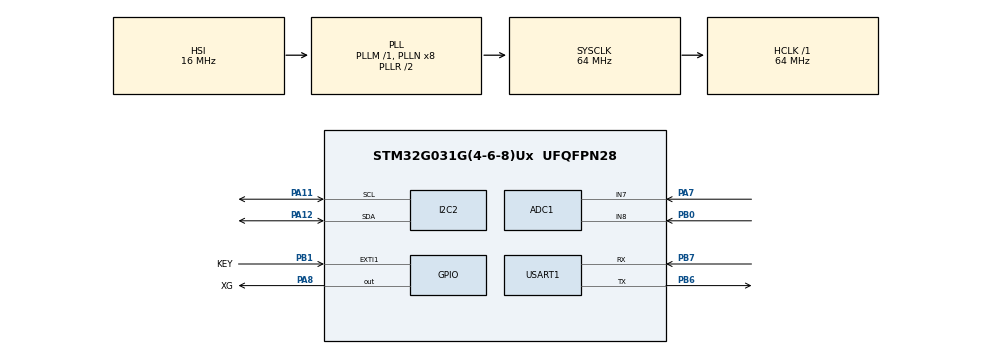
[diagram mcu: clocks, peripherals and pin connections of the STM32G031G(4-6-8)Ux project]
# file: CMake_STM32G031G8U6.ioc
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ADC1.Channel-1\#ChannelRegularConversion=ADC_CHANNEL_7
ADC1.Channel-6\#ChannelRegularConversion=ADC_CHANNEL_8
ADC1.Channel-7\#ChannelRegularConversion=ADC_CHANNEL_TEMPSENSOR
ADC1.ClockPrescaler=ADC_CLOCK_SYNC_PCLK_DIV4
ADC1.ContinuousConvMode=ENABLE
ADC1.DMAContinuousRequests=ENABLE
ADC1.NbrOfConversion=3
ADC1.NbrOfConversionFlag=1
ADC1.Rank-1\#ChannelRegularConversion=1
ADC1.Rank-6\#ChannelRegularConversion=2
ADC1.Rank-7\#ChannelRegularConversion=3
ADC1.SamplingTime-1\#ChannelRegularConversion=ADC_SAMPLINGTIME_COMMON_1
ADC1.SamplingTime-6\#ChannelRegularConversion=ADC_SAMPLINGTIME_COMMON_1
ADC1.SamplingTime-7\#ChannelRegularConversion=ADC_SAMPLINGTIME_COMMON_1
ADC1.SamplingTimeCommon1=ADC_SAMPLETIME_160CYCLES_5
ADC1.SamplingTimeCommon2=ADC_SAMPLETIME_160CYCLES_5
ADC1.SelectedChannel=ADC_CHANNEL_7|ADC_CHANNEL_TEMPSENSOR|ADC_CHANNEL_VREFINT|ADC_CHANNEL_8
ADC1.master=1
Dma.ADC1.1.Direction=DMA_PERIPH_TO_MEMORY
Dma.ADC1.1.EventEnable=DISABLE
Dma.ADC1.1.Instance=DMA1_Channel1
Dma.ADC1.1.MemDataAlignment=DMA_MDATAALIGN_WORD
Dma.ADC1.1.MemInc=DMA_MINC_ENABLE
Dma.ADC1.1.Mode=DMA_CIRCULAR
Dma.ADC1.1.PeriphDataAlignment=DMA_PDATAALIGN_WORD
Dma.ADC1.1.PeriphInc=DMA_PINC_DISABLE
Dma.ADC1.1.Polarity=HAL_DMAMUX_REQ_GEN_RISING
Dma.ADC1.1.Priority=DMA_PRIORITY_LOW
Dma.ADC1.1.RequestNumber=1
Dma.ADC1.1.SignalID=NONE
Dma.ADC1.1.SyncEnable=DISABLE
Dma.ADC1.1.SyncPolarity=HAL_DMAMUX_SYNC_NO_EVENT
Dma.ADC1.1.SyncRequestNumber=1
Dma.ADC1.1.SyncSignalID=NONE
Dma.Request0=USART1_TX
Dma.Request1=ADC1
Dma.USART1_TX.0.Direction=DMA_MEMORY_TO_PERIPH
Dma.USART1_TX.0.EventEnable=DISABLE
Dma.USART1_TX.0.Instance=DMA1_Channel3
Dma.USART1_TX.0.MemDataAlignment=DMA_MDATAALIGN_BYTE
Dma.USART1_TX.0.MemInc=DMA_MINC_ENABLE
Dma.USART1_TX.0.Mode=DMA_NORMAL
Dma.USART1_TX.0.PeriphDataAlignment=DMA_PDATAALIGN_BYTE
Dma.USART1_TX.0.PeriphInc=DMA_PINC_DISABLE
Dma.USART1_TX.0.Polarity=HAL_DMAMUX_REQ_GEN_RISING
Dma.USART1_TX.0.Priority=DMA_PRIORITY_MEDIUM
Dma.USART1_TX.0.RequestNumber=1
Dma.USART1_TX.0.SignalID=NONE
Dma.USART1_TX.0.SyncEnable=DISABLE
Dma.USART1_TX.0.SyncPolarity=HAL_DMAMUX_SYNC_NO_EVENT
Dma.USART1_TX.0.SyncRequestNumber=1
Dma.USART1_TX.0.SyncSignalID=NONE
I2C2.Timing=0x10B17DB5
IWDG.Prescaler=IWDG_PRESCALER_64
IWDG.Reload=4095
Mcu.Family=STM32G0
Mcu.Name=STM32G031G(4-6-8)Ux
Mcu.Package=UFQFPN28
NVIC.ADC1_IRQn=true\:0\:0\:false\:false\:true\:true\:true\:true
NVIC.DMA1_Channel1_IRQn=true\:0\:0\:false\:false\:true\:false\:true\:true
NVIC.DMA1_Channel2_3_IRQn=true\:0\:0\:false\:false\:true\:false\:true\:true
NVIC.EXTI0_1_IRQn=true\:0\:0\:false\:false\:true\:true\:true\:true
NVIC.TIM16_IRQn=true\:0\:0\:false\:false\:true\:true\:true\:true
NVIC.TIM17_IRQn=true\:0\:0\:false\:false\:true\:true\:true\:true
NVIC.USART1_IRQn=true\:0\:0\:false\:false\:true\:true\:true\:true
PA11\ [PA9].Mode=I2C
PA11\ [PA9].Signal=I2C2_SCL
PA12\ [PA10].Mode=I2C
PA12\ [PA10].Signal=I2C2_SDA
PA13.Mode=Serial_Wire
PA13.Signal=SYS_SWDIO
PA14-BOOT0.Mode=Serial_Wire
PA14-BOOT0.Signal=SYS_SWCLK
PA7.Mode=IN7
PA7.Signal=ADC1_IN7
PA8.GPIO_Label=XG
PA8.GPIO_PuPd=GPIO_PULLUP
PA8.PinState=GPIO_PIN_SET
PA8.Signal=GPIO_Output
PB0.Mode=IN8
PB0.Signal=ADC1_IN8
PB1.GPIO_Label=KEY
PB1.GPIO_ModeDefaultEXTI=GPIO_MODE_IT_RISING_FALLING
PB1.GPIO_PuPd=GPIO_PULLUP
PB1.Signal=GPXTI1
PB6.Mode=Asynchronous
PB6.Signal=USART1_TX
PB7.Mode=Asynchronous
PB7.Signal=USART1_RX
ProjectManager.HeapSize=0x200
ProjectManager.StackSize=0x400
ProjectManager.TargetToolchain=CMake
RCC.ADCFreq_Value=64000000
RCC.AHBFreq_Value=64000000
RCC.CortexFreq_Value=64000000
RCC.EXTERNAL_CLOCK_VALUE=12288000
RCC.HCLKFreq_Value=64000000
RCC.HSE_VALUE=8000000
RCC.HSI_VALUE=16000000
RCC.LSE_VALUE=32768
RCC.PLLP=RCC_PLLP_DIV4
RCC.SYSCLKFreq_VALUE=64000000
RCC.SYSCLKSource=RCC_SYSCLKSOURCE_PLLCLK
RCC.USART1CLockSelection=RCC_USART1CLKSOURCE_HSI
RCC.VCOOutputFreq_Value=128000000
TIM16.AutoReloadPreload=TIM_AUTORELOAD_PRELOAD_ENABLE
TIM16.Period=1952*5
TIM16.Prescaler=32768
TIM17.AutoReloadPreload=TIM_AUTORELOAD_PRELOAD_ENABLE
TIM17.Period=1952*1.5
TIM17.Prescaler=32768
USART1.VirtualMode-Asynchronous=VM_ASYNC
VP_ADC1_TempSens_Input.Mode=IN-TempSens
VP_ADC1_Vref_Input.Mode=IN-Vrefint
VP_IWDG_VS_IWDG.Mode=IWDG_Activate
VP_TIM16_VS_ClockSourceINT.Mode=Enable_Timer
VP_TIM17_VS_ClockSourceINT.Mode=Enable_Timer
board=custom

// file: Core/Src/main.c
/* USER CODE BEGIN Header */
/**
  ******************************************************************************
  * @file           : main.c
  * @brief          : Main program body
  ******************************************************************************
  * @attention
  *
  * Copyright (c) 2024 STMicroelectronics.
  * All rights reserved.
  *
  * This software is licensed under terms that can be found in the LICENSE file
  * in the root directory of this software component.
  * If no LICENSE file comes with this software, it is provided AS-IS.
  *
  ******************************************************************************
  */
/* USER CODE END Header */
#include "main.h"
#include "adc.h"
#include "dma.h"
#include "i2c.h"
#include "iwdg.h"
#include "tim.h"
#include "usart.h"
#include "gpio.h"

/* USER CODE BEGIN Includes */
#include <stdio.h>
#include <stdlib.h>
#include <string.h>

#include "u8g2_stm32.h"
#include "ui.h"
/* USER CODE END Includes */

/* USER CODE BEGIN PV */

static uint32_t pressStartTime = 0;

static int8_t isPowerBoot = 0;
uint32_t adcValues[3] = {0};

int isShow = 1;
u8g2_t u8g2;

double SR = 0.005;
const double R25 = 20000.0;
const double R26 = 3300.0;
const int adc_max = 4095;
const double adc_max_voltage = 3.3;
const int magnification = 39;
const int intervals = 1800;

/* USER CODE BEGIN PV */
double calculate_voltage(const uint32_t adc_value)
{
    const double adc_voltage = adc_value * (adc_max_voltage / adc_max);

    return adc_voltage * (R25 + R26) / R26;
}

double calculate_current(const uint32_t adc_value)
{
    return adc_value * adc_max_voltage / (adc_max * magnification * SR);
}

void HAL_GPIO_EXTI_Rising_Callback(const uint16_t GPIO_Pin)
{
    if (GPIO_Pin == KEY_Pin)
    {
        const uint32_t pressDuration = HAL_GetTick() - pressStartTime;
        if (pressDuration >= intervals)
        {
            isPowerBoot = 1;
            HAL_GPIO_TogglePin(XG_GPIO_Port,XG_Pin);
            isShow = !isShow;
            // u8g2_SetPowerSave(&u8g2, isShow);
        }
        else
        {
            isPowerBoot = 0;
        }
        // Print the status of isPowerBoot
        char buffer[50];
        snprintf(buffer, sizeof(buffer), "isPowerBoot: %d %d \r\n", isPowerBoot, isShow);
        HAL_UART_Transmit_IT(&huart1, buffer, strlen(buffer));
    }
}

void HAL_GPIO_EXTI_Falling_Callback(const uint16_t GPIO_Pin)
{
    if (GPIO_Pin == KEY_Pin)
    {
        pressStartTime = HAL_GetTick(); // Record the time when the button is pressed
    }
}

void HAL_TIM_PeriodElapsedCallback(TIM_HandleTypeDef* htim)
{
    if (htim->Instance == TIM17) // 检查是否为 TIM2 中断
    {
        const uint32_t current_adc = adcValues[0];
        const uint32_t voltage_adc = adcValues[1];
        // int temperature_adc = adcValues[3];

        // float b = temperature_adc * (3.3 / 4095);
        // float temperature = (1.43 - b) / 0.0043 + 25;

        const double current = calculate_current(current_adc);
        const double voltage = calculate_voltage(voltage_adc);

        char data[50];
        snprintf(data, sizeof(data), "voltage %d %.2fV \r\ncurrent %d %.2fA \r\n", voltage_adc, voltage, current_adc,
                 current);
        HAL_UART_Transmit_IT(&huart1, data, strlen(data));
        //
        // snprintf(data, sizeof(data), "temperature %.2f \r\n", temperature);
        // HAL_UART_Transmit_IT(&huart1, data, strlen(data));

        // float voltage = generate_random_float(19, 21);
        // float current = generate_random_float(5, 13);
        // float power = voltage * current;
        // updateUI(&u8g2, voltage, current, power);
        // HAL_Delay(1000);
    }
    else if (htim->Instance == TIM16)
    {
        if (HAL_IWDG_Refresh(&hiwdg) != HAL_OK)
        {
            Error_Handler();
        }
    }
}

/* USER CODE END PV */

void SystemClock_Config(void);

/* USER CODE BEGIN 0 */
float generate_random_float(float min, float max)
{
    return min + (max - min) * ((float)rand() / (float)RAND_MAX);
}

/* USER CODE END 0 */

int main(void)
{

    /* MCU Configuration--------------------------------------------------------*/

    /* Reset of all peripherals, Initializes the Flash interface and the Systick. */
    HAL_Init();

    /* USER CODE BEGIN Init */
    HAL_RCC_DeInit();
    /* USER CODE END Init */

    /* Configure the system clock */
    SystemClock_Config();

    /* Initialize all configured peripherals */
    MX_GPIO_Init();
    MX_DMA_Init();
    MX_USART1_UART_Init();
    MX_ADC1_Init();
    MX_I2C2_Init();
    MX_IWDG_Init();
    MX_TIM17_Init();
    MX_TIM16_Init();
    /* USER CODE BEGIN 2 */

    // HAL_GPIO_WritePin(XG_GPIO_Port,XG_Pin, isPowerBoot);
    u8g2Init(&u8g2);

    HAL_UART_Transmit_IT(&huart1, "Hello World\r\n", strlen("Hello World\r\n"));

    HAL_ADC_Start_DMA(&hadc1, adcValues, sizeof(adcValues));
    HAL_TIM_Base_Start_IT(&htim16);
    HAL_TIM_Base_Start_IT(&htim17);

    /* USER CODE END 2 */

    /* Infinite loop */
    /* USER CODE BEGIN WHILE */
    while (1)
    {
        // HAL_Delay(1500);

        /* USER CODE END WHILE */

    }
}

void SystemClock_Config(void)
{
    RCC_OscInitTypeDef RCC_OscInitStruct = {0};
    RCC_ClkInitTypeDef RCC_ClkInitStruct = {0};

    /** Configure the main internal regulator output voltage
    */
    HAL_PWREx_ControlVoltageScaling(PWR_REGULATOR_VOLTAGE_SCALE1);

    /** Initializes the RCC Oscillators according to the specified parameters
    * in the RCC_OscInitTypeDef structure.
    */
    RCC_OscInitStruct.OscillatorType = RCC_OSCILLATORTYPE_HSI | RCC_OSCILLATORTYPE_LSI;
    RCC_OscInitStruct.HSIState = RCC_HSI_ON;
    RCC_OscInitStruct.HSIDiv = RCC_HSI_DIV1;
    RCC_OscInitStruct.HSICalibrationValue = RCC_HSICALIBRATION_DEFAULT;
    RCC_OscInitStruct.LSIState = RCC_LSI_ON;
    RCC_OscInitStruct.PLL.PLLState = RCC_PLL_ON;
    RCC_OscInitStruct.PLL.PLLSource = RCC_PLLSOURCE_HSI;
    RCC_OscInitStruct.PLL.PLLM = RCC_PLLM_DIV1;
    RCC_OscInitStruct.PLL.PLLN = 8;
    RCC_OscInitStruct.PLL.PLLP = RCC_PLLP_DIV4;
    RCC_OscInitStruct.PLL.PLLQ = RCC_PLLQ_DIV2;
    RCC_OscInitStruct.PLL.PLLR = RCC_PLLR_DIV2;
    if (HAL_RCC_OscConfig(&RCC_OscInitStruct) != HAL_OK)
    {
        Error_Handler();
    }

    /** Initializes the CPU, AHB and APB buses clocks
    */
    RCC_ClkInitStruct.ClockType = RCC_CLOCKTYPE_HCLK | RCC_CLOCKTYPE_SYSCLK
        | RCC_CLOCKTYPE_PCLK1;
    RCC_ClkInitStruct.SYSCLKSource = RCC_SYSCLKSOURCE_PLLCLK;
    RCC_ClkInitStruct.AHBCLKDivider = RCC_SYSCLK_DIV1;
    RCC_ClkInitStruct.APB1CLKDivider = RCC_HCLK_DIV1;

    if (HAL_RCC_ClockConfig(&RCC_ClkInitStruct, FLASH_LATENCY_2) != HAL_OK)
    {
        Error_Handler();
    }
}

void Error_Handler(void)
{
    __disable_irq();
    while (1)
    {
    }
}
